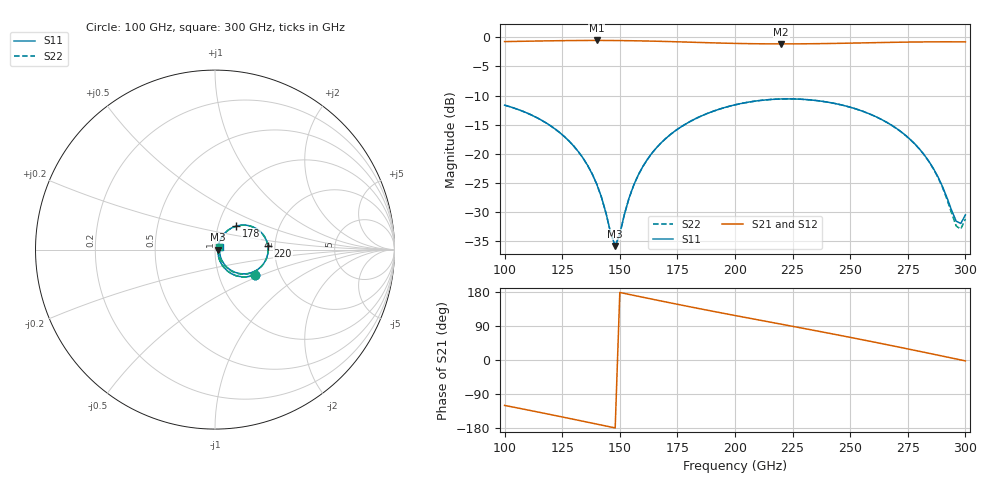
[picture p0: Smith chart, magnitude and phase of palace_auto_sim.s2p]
#  GHZ S DB R 50
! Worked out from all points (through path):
!   101 points, 100 GHz to 300 GHz, reference 50 ohm
!   highest |S21| = -0.54 dB at 140 GHz (marker M1); lowest = -1.1 dB at 220 GHz (marker M2)
!   group delay of S21, straight-line fit = 3.34 ps
!   lowest |S11| = -35.8 dB at 148 GHz (marker M3), VSWR 1.03, Z = 51.6 - j0.105 ohm
!   |S11| at or under -10 dB: start of sweep to end of sweep
!   |S22| runs from -35.8 to -10.6 dB; largest |S21 - S12| = 1.1e-14
!   S11 on the Smith chart (normalised r, x): 100 GHz: 1.49, -0.45; 178 GHz: 1.22, +0.33; 220 GHz: 1.83, +0.07; 300 GHz: 1.05, +0.03
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100  -11.65 -32.3  -0.74 -119.9  -0.74 -119.9  -11.65 -32.4
120  -15.20 -53.5  -0.61 -144.1  -0.61 -144.1  -15.20 -53.6
134  -20.70 -65.3  -0.55 -161.6  -0.55 -161.6  -20.70 -65.5
140  -25.20 -65.4  -0.54 -169.2  -0.54 -169.2  -25.20 -65.7
148  -35.79 -3.6  -0.56 -179.3  -0.56 -179.3  -35.84 -3.9
150  -33.74 33.3  -0.57 178.2  -0.57 178.2  -33.78 33.2
154  -27.60 57.8  -0.59 173.1  -0.59 173.1  -27.61 57.7
156  -25.41 60.7  -0.60 170.6  -0.60 170.6  -25.42 60.6
162  -20.93 60.8  -0.64 163.1  -0.64 163.1  -20.94 60.7
168  -18.08 56.8  -0.70 155.6  -0.70 155.6  -18.09 56.6
178  -15.02 47.7  -0.81 143.4  -0.81 143.4  -15.02 47.5
200  -11.59 25.1  -1.05 117.4  -1.05 117.4  -11.60 24.8
220  -10.59 3.5  -1.13 94.6  -1.13 94.6  -10.59 3.2
234  -10.80 -11.6  -1.10 78.5  -1.10 78.5  -10.80 -12.0
252  -12.23 -30.9  -0.99 57.4  -0.99 57.4  -12.24 -31.5
268  -15.10 -47.2  -0.87 37.9  -0.87 37.9  -15.11 -48.1
276  -17.51 -54.1  -0.82 28.0  -0.82 28.0  -17.53 -55.2
284  -21.18 -57.8  -0.79 17.9  -0.79 17.9  -21.24 -59.6
290  -25.55 -53.4  -0.78 10.4  -0.78 10.4  -25.73 -56.2
296  -31.55 -18.1  -0.78 2.7  -0.78 2.7  -32.38 -20.7
298  -31.94 7.6  -0.79 0.2  -0.79 0.2  -32.90 8.0
300  -30.48 29.6  -0.79 -2.3  -0.79 -2.3  -31.18 32.2
